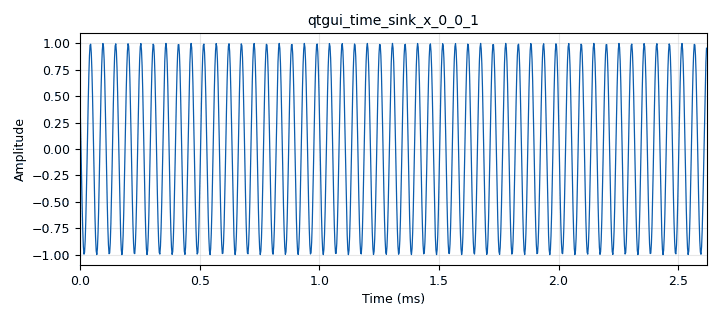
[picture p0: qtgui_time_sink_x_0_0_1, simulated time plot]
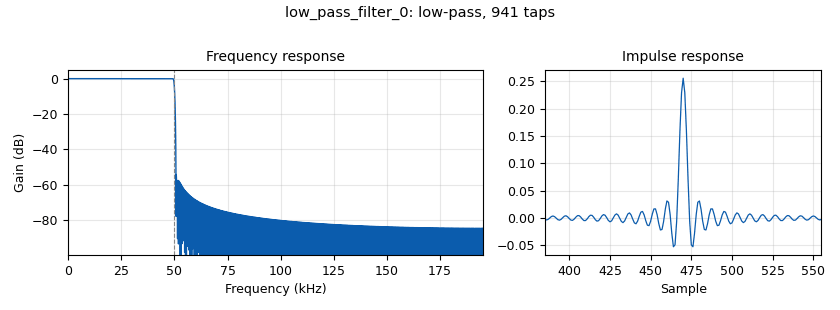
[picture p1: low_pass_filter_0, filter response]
options:
  parameters:
    generate_options: qt_gui
    id: mision6jfdt
    output_language: python
    title: mision6
  states: {}

blocks:
- name: Audio_rate
  id: variable
  parameters:
    value: '44100'
  states: {}
- name: GAIN
  id: variable_qtgui_range
  parameters:
    label: GAIN
    start: '1'
    step: '1'
    stop: '100'
    value: '1'
  states: {}
- name: samp_rate
  id: variable
  parameters:
    value: 25e6/64
  states: {}
- name: analog_sig_source_x_0
  id: analog_sig_source_x
  parameters:
    amp: '1'
    freq: '19000'
    offset: '0'
    phase: '0'
    samp_rate: samp_rate
    type: float
    waveform: analog.GR_COS_WAVE
  states: {}
- name: analog_sig_source_x_0_0
  id: analog_sig_source_x
  parameters:
    amp: '1'
    freq: '38000'
    offset: '0'
    phase: '0'
    samp_rate: samp_rate
    type: float
    waveform: analog.GR_COS_WAVE
  states: {}
- name: blocks_add_xx_0
  id: blocks_add_xx
  parameters:
    type: float
  states: {}
- name: blocks_add_xx_1
  id: blocks_add_xx
  parameters:
    num_inputs: '3'
    type: float
  states: {}
- name: blocks_multiply_const_vxx_0
  id: blocks_multiply_const_vxx
  parameters:
    const: GAIN
    type: float
  states: {}
- name: blocks_multiply_const_vxx_0_0
  id: blocks_multiply_const_vxx
  parameters:
    const: GAIN
    type: float
  states: {}
- name: blocks_multiply_xx_0_0
  id: blocks_multiply_xx
  parameters:
    type: float
  states: {}
- name: blocks_sub_xx_0
  id: blocks_sub_xx
  parameters:
    type: float
  states: {}
- name: blocks_wavfile_source_0
  id: blocks_wavfile_source
  parameters:
    file: /home/estudiante/Descargas/audio de prueba.wav
    nchan: '2'
    repeat: 'True'
  states: {}
- name: low_pass_filter_0
  id: low_pass_filter
  parameters:
    cutoff_freq: '50000'
    decim: '1'
    gain: '1'
    samp_rate: samp_rate
    type: fir_filter_fff
    width: '1000'
    win: window.WIN_HAMMING
  states: {}
- name: low_pass_filter_0_0
  id: low_pass_filter
  parameters:
    cutoff_freq: '50000'
    decim: '1'
    gain: '1'
    samp_rate: samp_rate
    type: fir_filter_fff
    width: '1000'
    win: window.WIN_HAMMING
  states: {}
- name: qtgui_freq_sink_x_0
  id: qtgui_freq_sink_x
  parameters:
    bw: samp_rate
    fc: '0'
    fftsize: '1024'
    type: float
  states: {}
- name: qtgui_time_sink_x_0
  id: qtgui_time_sink_x
  parameters:
    autoscale: 'True'
    grid: 'True'
    size: '1024'
    srate: samp_rate
    type: float
    ymax: '10'
    ymin: '-10'
  states: {}
- name: qtgui_time_sink_x_0_0
  id: qtgui_time_sink_x
  parameters:
    autoscale: 'True'
    grid: 'True'
    size: '1024'
    srate: samp_rate
    type: float
    ymax: '10'
    ymin: '-10'
  states: {}
- name: qtgui_time_sink_x_0_0_0
  id: qtgui_time_sink_x
  parameters:
    autoscale: 'True'
    grid: 'True'
    size: '1024'
    srate: samp_rate
    type: float
    ymax: '10'
    ymin: '-10'
  states: {}
- name: qtgui_time_sink_x_0_0_1
  id: qtgui_time_sink_x
  parameters:
    autoscale: 'True'
    grid: 'True'
    size: '1024'
    srate: samp_rate
    type: float
    ymax: '10'
    ymin: '-10'
  states: {}
- name: qtgui_waterfall_sink_x_0
  id: qtgui_waterfall_sink_x
  parameters:
    bw: samp_rate
    fc: '19000'
    fftsize: '1024'
    type: float
  states: {}
- name: rational_resampler_xxx_0
  id: rational_resampler_xxx
  parameters:
    decim: int(Audio_rate)
    interp: int(samp_rate)
    type: fff
  states: {}
- name: rational_resampler_xxx_0_0
  id: rational_resampler_xxx
  parameters:
    decim: int(Audio_rate)
    interp: int(samp_rate)
    type: fff
  states: {}
- name: virtual_sink_0
  id: virtual_sink
  parameters:
    stream_id: Audio-left
  states: {}
- name: virtual_sink_0_0
  id: virtual_sink
  parameters:
    stream_id: Audio-right
  states: {}
- name: virtual_sink_0_0_0
  id: virtual_sink
  parameters:
    stream_id: L+R
  states: {}
- name: virtual_sink_0_0_0_0
  id: virtual_sink
  parameters:
    stream_id: L-R
  states: {}
- name: virtual_sink_0_0_0_0_0
  id: virtual_sink
  parameters:
    stream_id: MPX
  states: {}
- name: virtual_sink_1
  id: virtual_sink
  parameters:
    stream_id: Piloto
  states: {}
- name: virtual_source_0
  id: virtual_source
  parameters:
    stream_id: Audio-left
  states: {}
- name: virtual_source_0_0
  id: virtual_source
  parameters:
    stream_id: Audio-right
  states: {}
- name: virtual_source_0_0_0
  id: virtual_source
  parameters:
    stream_id: MPX
  states: {}
- name: virtual_source_0_0_0_0
  id: virtual_source
  parameters:
    stream_id: L-R
  states: {}
- name: virtual_source_0_0_0_1
  id: virtual_source
  parameters:
    stream_id: L+R
  states: {}
- name: virtual_source_0_0_0_2
  id: virtual_source
  parameters:
    stream_id: Piloto
  states: {}
- name: virtual_source_0_1
  id: virtual_source
  parameters:
    stream_id: L+R
  states: {}
- name: virtual_source_0_2
  id: virtual_source
  parameters:
    stream_id: L-R
  states: {}
- name: virtual_source_0_3
  id: virtual_source
  parameters:
    stream_id: Piloto
  states: {}

connections:
- [analog_sig_source_x_0, '0', virtual_sink_1, '0']
- [analog_sig_source_x_0_0, '0', blocks_multiply_xx_0_0, '1']
- [blocks_add_xx_0, '0', virtual_sink_0_0_0, '0']
- [blocks_add_xx_1, '0', virtual_sink_0_0_0_0_0, '0']
- [blocks_multiply_const_vxx_0, '0', virtual_sink_0, '0']
- [blocks_multiply_const_vxx_0_0, '0', virtual_sink_0_0, '0']
- [blocks_multiply_xx_0_0, '0', virtual_sink_0_0_0_0, '0']
- [blocks_sub_xx_0, '0', blocks_multiply_xx_0_0, '0']
- [blocks_wavfile_source_0, '0', rational_resampler_xxx_0_0, '0']
- [blocks_wavfile_source_0, '1', rational_resampler_xxx_0, '0']
- [low_pass_filter_0, '0', blocks_multiply_const_vxx_0, '0']
- [low_pass_filter_0_0, '0', blocks_multiply_const_vxx_0_0, '0']
- [rational_resampler_xxx_0, '0', low_pass_filter_0_0, '0']
- [rational_resampler_xxx_0_0, '0', low_pass_filter_0, '0']
- [virtual_source_0, '0', blocks_add_xx_0, '0']
- [virtual_source_0, '0', blocks_sub_xx_0, '0']
- [virtual_source_0_0, '0', blocks_add_xx_0, '1']
- [virtual_source_0_0, '0', blocks_sub_xx_0, '1']
- [virtual_source_0_0_0, '0', qtgui_freq_sink_x_0, '0']
- [virtual_source_0_0_0, '0', qtgui_time_sink_x_0, '0']
- [virtual_source_0_0_0, '0', qtgui_waterfall_sink_x_0, '0']
- [virtual_source_0_0_0_0, '0', qtgui_time_sink_x_0_0, '0']
- [virtual_source_0_0_0_1, '0', qtgui_time_sink_x_0_0_0, '0']
- [virtual_source_0_0_0_2, '0', qtgui_time_sink_x_0_0_1, '0']
- [virtual_source_0_1, '0', blocks_add_xx_1, '0']
- [virtual_source_0_2, '0', blocks_add_xx_1, '1']
- [virtual_source_0_3, '0', blocks_add_xx_1, '2']

metadata:
  file_format: 1
  grc_version: v3.10.11.0-89-ga17f69e7
